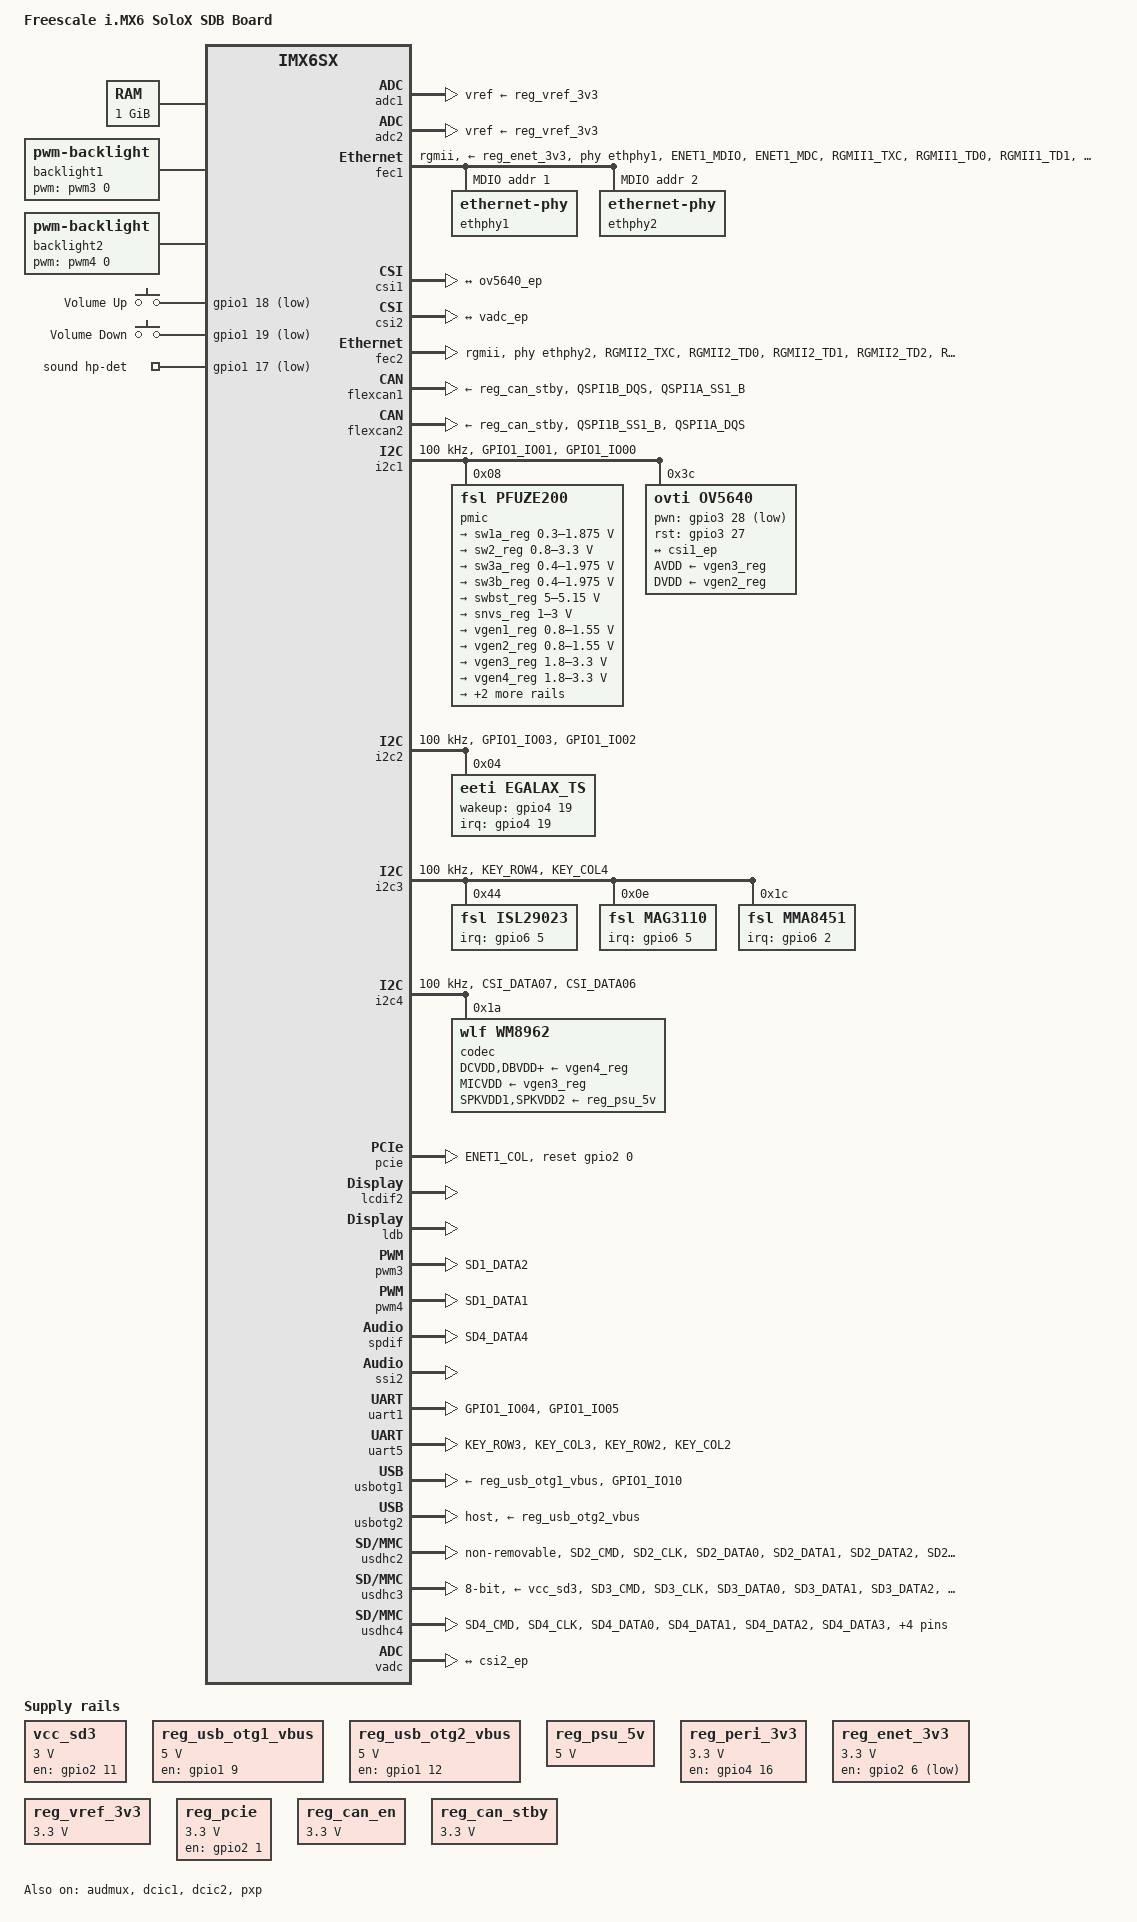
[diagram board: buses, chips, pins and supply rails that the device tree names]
/*
 * Copyright (C) 2014 Freescale Semiconductor, Inc.
 *
 * This program is free software; you can redistribute it and/or modify
 * it under the terms of the GNU General Public License version 2 as
 * published by the Free Software Foundation.
 */

/dts-v1/;

#include <dt-bindings/gpio/gpio.h>
#include <dt-bindings/input/input.h>
#include "imx6sx.dtsi"

/ {
	model = "Freescale i.MX6 SoloX SDB Board";
	compatible = "fsl,imx6sx-sdb", "fsl,imx6sx";

	chosen {
		stdout-path = &uart1;
	};

	memory {
		reg = <0x80000000 0x40000000>;
	};

	backlight1 {
		compatible = "pwm-backlight";
		pwms = <&pwm3 0 5000000>;
		brightness-levels = <0 4 8 16 32 64 128 255>;
		default-brightness-level = <6>;
		fb-names = "mxs-lcdif0";
	};
	backlight2 {
		compatible = "pwm-backlight";
		pwms = <&pwm4 0 5000000>;
		brightness-levels = <0 4 8 16 32 64 128 255>;
		default-brightness-level = <6>;
		fb-names = "mxs-lcdif1";
	};

	gpio-keys {
		compatible = "gpio-keys";
		pinctrl-names = "default";
		pinctrl-0 = <&pinctrl_gpio_keys>;

		volume-up {
			label = "Volume Up";
			gpios = <&gpio1 18 GPIO_ACTIVE_LOW>;
			linux,code = <KEY_VOLUMEUP>;
		};

		volume-down {
			label = "Volume Down";
			gpios = <&gpio1 19 GPIO_ACTIVE_LOW>;
			linux,code = <KEY_VOLUMEDOWN>;
		};
	};

	hannstar_cabc {
		compatible = "hannstar,cabc";
		lvds0 {
			gpios = <&gpio4 26 GPIO_ACTIVE_HIGH>;
		};
	};

        pxp_v4l2_out {
                compatible = "fsl,imx6sx-pxp-v4l2", "fsl,imx6sl-pxp-v4l2";
                status = "okay";
        };

	regulators {
		compatible = "simple-bus";
		#address-cells = <1>;
		#size-cells = <0>;

		vcc_sd3: regulator@0 {
			compatible = "regulator-fixed";
			reg = <0>;
			pinctrl-names = "default";
			pinctrl-0 = <&pinctrl_vcc_sd3>;
			regulator-name = "VCC_SD3";
			regulator-min-microvolt = <3000000>;
			regulator-max-microvolt = <3000000>;
			gpio = <&gpio2 11 GPIO_ACTIVE_HIGH>;
			enable-active-high;
		};

		reg_usb_otg1_vbus: regulator@1 {
			compatible = "regulator-fixed";
			reg = <1>;
			pinctrl-names = "default";
			pinctrl-0 = <&pinctrl_usb_otg1>;
			regulator-name = "usb_otg1_vbus";
			regulator-min-microvolt = <5000000>;
			regulator-max-microvolt = <5000000>;
			gpio = <&gpio1 9 GPIO_ACTIVE_HIGH>;
			enable-active-high;
		};

		reg_usb_otg2_vbus: regulator@2 {
			compatible = "regulator-fixed";
			reg = <2>;
			pinctrl-names = "default";
			pinctrl-0 = <&pinctrl_usb_otg2>;
			regulator-name = "usb_otg2_vbus";
			regulator-min-microvolt = <5000000>;
			regulator-max-microvolt = <5000000>;
			gpio = <&gpio1 12 GPIO_ACTIVE_HIGH>;
			enable-active-high;
		};

		reg_psu_5v: regulator@3 {
			compatible = "regulator-fixed";
			reg = <3>;
			regulator-name = "PSU-5V0";
			regulator-min-microvolt = <5000000>;
			regulator-max-microvolt = <5000000>;
		};

		reg_lcd_3v3: regulator@4 {
			compatible = "regulator-fixed";
			reg = <4>;
			regulator-name = "lcd-3v3";
			gpio = <&gpio3 27 0>;
			enable-active-high;
			status = "disabled";
		};

		reg_peri_3v3: regulator@5 {
			compatible = "regulator-fixed";
			reg = <5>;
			pinctrl-names = "default";
			pinctrl-0 = <&pinctrl_peri_3v3>;
			regulator-name = "peri_3v3";
			regulator-min-microvolt = <3300000>;
			regulator-max-microvolt = <3300000>;
			gpios = <&gpio4 16 GPIO_ACTIVE_HIGH>;
			enable-active-high;
			regulator-always-on;
		};

		reg_enet_3v3: regulator@6 {
			compatible = "regulator-fixed";
			reg = <6>;
			pinctrl-names = "default";
			pinctrl-0 = <&pinctrl_enet_3v3>;
			regulator-name = "enet_3v3";
			regulator-min-microvolt = <3300000>;
			regulator-max-microvolt = <3300000>;
			gpios = <&gpio2 6 GPIO_ACTIVE_LOW>;
		};

		reg_vref_3v3: regulator@7 {
			compatible = "regulator-fixed";
			reg = <7>;
			regulator-name = "vref-3v3";
			regulator-min-microvolt = <3300000>;
			regulator-max-microvolt = <3300000>;
		};

		reg_pcie: regulator@8 {
			compatible = "regulator-fixed";
			reg = <8>;
			pinctrl-names = "default";
			pinctrl-0 = <&pinctrl_pcie_reg>;
			regulator-name = "MPCIE_3V3";
			regulator-min-microvolt = <3300000>;
			regulator-max-microvolt = <3300000>;
			gpio = <&gpio2 1 0>;
			regulator-always-on;
			enable-active-high;
		};

		reg_can_en: regulator@9 {
			compatible = "regulator-fixed";
			reg = <9>;
			regulator-name = "can-en";
			regulator-min-microvolt = <3300000>;
			regulator-max-microvolt = <3300000>;
		};

		reg_can_stby: regulator@10 {
			compatible = "regulator-fixed";
			reg = <10>;
			regulator-name = "can-stby";
			regulator-min-microvolt = <3300000>;
			regulator-max-microvolt = <3300000>;
		};
	};

	sound {
		compatible = "fsl,imx6sx-sdb-wm8962", "fsl,imx-audio-wm8962";
		model = "wm8962-audio";
		cpu-dai = <&ssi2>;
		audio-codec = <&codec>;
		audio-routing =
			"Headphone Jack", "HPOUTL",
			"Headphone Jack", "HPOUTR",
			"Ext Spk", "SPKOUTL",
			"Ext Spk", "SPKOUTR",
			"AMIC", "MICBIAS",
			"IN3R", "AMIC";
		mux-int-port = <2>;
		mux-ext-port = <6>;
		codec-master;
		hp-det-gpios = <&gpio1 17 1>;
	};

	sound-spdif {
		compatible = "fsl,imx-audio-spdif",
			   "fsl,imx6sx-sdb-spdif";
		model = "imx-spdif";
		spdif-controller = <&spdif>;
		spdif-out;
	};

	sii902x_reset: sii902x-reset {
		compatible = "gpio-reset";
		reset-gpios = <&gpio3 27 1>;
		reset-delay-us = <100000>;
		#reset-cells = <0>;
		status = "disabled";
	};
};

&adc1 {
	vref-supply = <&reg_vref_3v3>;
	status = "okay";
};

&adc2 {
	vref-supply = <&reg_vref_3v3>;
	status = "okay";
};

&audmux {
	pinctrl-names = "default";
	pinctrl-0 = <&pinctrl_audmux>;
	status = "okay";
};


&gpc {
	fsl,ldo-bypass = <1>;
};

&fec1 {
	pinctrl-names = "default";
	pinctrl-0 = <&pinctrl_enet1>;
	phy-supply = <&reg_enet_3v3>;
	phy-mode = "rgmii";
	phy-handle = <&ethphy1>;
	status = "okay";

	mdio {
		#address-cells = <1>;
		#size-cells = <0>;

		ethphy1: ethernet-phy@1 {
			reg = <1>;
		};

		ethphy2: ethernet-phy@2 {
			reg = <2>;
		};
	};
};

&csi1 {
	status = "okay";

	port {
		csi1_ep: endpoint {
			remote-endpoint = <&ov5640_ep>;
		};
	};
};

&csi2 {
	status = "okay";
	port {
		csi2_ep: endpoint {
			remote-endpoint = <&vadc_ep>;
		};
	};
};

&dcic1 {
	dcic_id = <0>;
	dcic_mux = "dcic-lcdif1";
	status = "okay";
};

&dcic2 {
	dcic_id = <1>;
	dcic_mux = "dcic-lvds";
	status = "okay";
};

&fec2 {
	pinctrl-names = "default";
	pinctrl-0 = <&pinctrl_enet2>;
	phy-mode = "rgmii";
	phy-handle = <&ethphy2>;
	status = "okay";
};

&flexcan1 {
	pinctrl-names = "default";
	pinctrl-0 = <&pinctrl_flexcan1>;
	xceiver-supply = <&reg_can_stby>;
	status = "okay";
};

&flexcan2 {
	pinctrl-names = "default";
	pinctrl-0 = <&pinctrl_flexcan2>;
	xceiver-supply = <&reg_can_stby>;
	status = "okay";
};

&i2c1 {
	clock-frequency = <100000>;
	pinctrl-names = "default";
	pinctrl-0 = <&pinctrl_i2c1>;
	status = "okay";

	pmic: pfuze100@08 {
		compatible = "fsl,pfuze200";
		reg = <0x08>;

		regulators {
			sw1a_reg: sw1ab {
				regulator-min-microvolt = <300000>;
				regulator-max-microvolt = <1875000>;
				regulator-boot-on;
				regulator-always-on;
				regulator-ramp-delay = <6250>;
			};

			sw2_reg: sw2 {
				regulator-min-microvolt = <800000>;
				regulator-max-microvolt = <3300000>;
				regulator-boot-on;
				regulator-always-on;
			};

			sw3a_reg: sw3a {
				regulator-min-microvolt = <400000>;
				regulator-max-microvolt = <1975000>;
				regulator-boot-on;
				regulator-always-on;
			};

			sw3b_reg: sw3b {
				regulator-min-microvolt = <400000>;
				regulator-max-microvolt = <1975000>;
				regulator-boot-on;
				regulator-always-on;
			};

			swbst_reg: swbst {
				regulator-min-microvolt = <5000000>;
				regulator-max-microvolt = <5150000>;
			};

			snvs_reg: vsnvs {
				regulator-min-microvolt = <1000000>;
				regulator-max-microvolt = <3000000>;
				regulator-boot-on;
				regulator-always-on;
			};

			vref_reg: vrefddr {
				regulator-boot-on;
				regulator-always-on;
			};

			vgen1_reg: vgen1 {
				regulator-min-microvolt = <800000>;
				regulator-max-microvolt = <1550000>;
				regulator-always-on;
			};

			vgen2_reg: vgen2 {
				regulator-min-microvolt = <800000>;
				regulator-max-microvolt = <1550000>;
			};

			vgen3_reg: vgen3 {
				regulator-min-microvolt = <1800000>;
				regulator-max-microvolt = <3300000>;
				regulator-always-on;
			};

			vgen4_reg: vgen4 {
				regulator-min-microvolt = <1800000>;
				regulator-max-microvolt = <3300000>;
				regulator-always-on;
			};

			vgen5_reg: vgen5 {
				regulator-min-microvolt = <1800000>;
				regulator-max-microvolt = <3300000>;
				regulator-always-on;
			};

			vgen6_reg: vgen6 {
				regulator-min-microvolt = <1800000>;
				regulator-max-microvolt = <3300000>;
				regulator-always-on;
			};
		};
	};

	ov5640: ov5640@3c {
		compatible = "ovti,ov5640";
		reg = <0x3c>;
		pinctrl-names = "default";
		pinctrl-0 = <&pinctrl_csi_0>;
		clocks = <&clks IMX6SX_CLK_CSI>;
		clock-names = "csi_mclk";
		AVDD-supply = <&vgen3_reg>;  /* 2.8v */
		DVDD-supply = <&vgen2_reg>;  /* 1.5v*/
		pwn-gpios = <&gpio3 28 1>;
		rst-gpios = <&gpio3 27 0>;
		csi_id = <0>;
		mclk = <24000000>;
		mclk_source = <0>;
		port {
			ov5640_ep: endpoint {
				remote-endpoint = <&csi1_ep>;
			};
		};
	};

	sii902x@39 {
		compatible = "SiI,sii902x";
		interrupt-parent = <&gpio4>;
		interrupts = <21 2>;
		mode_str ="1280x720M@60";
		bits-per-pixel = <16>;
		resets = <&sii902x_reset>;
		reg = <0x39>;
		status = "disabled";
	};
};

&i2c2 {
	clock-frequency = <100000>;
	pinctrl-names = "default";
	pinctrl-0 = <&pinctrl_i2c2>;
	status = "okay";

	egalax_ts@04 {
		compatible = "eeti,egalax_ts";
		reg = <0x04>;
		pinctrl-names = "default";
		pinctrl-0 = <&pinctrl_egalax_int>;
		interrupt-parent = <&gpio4>;
		interrupts = <19 2>;
		wakeup-gpios = <&gpio4 19 GPIO_ACTIVE_HIGH>;
	};
};

&i2c3 {
	clock-frequency = <100000>;
	pinctrl-names = "default";
	pinctrl-0 = <&pinctrl_i2c3>;
	status = "okay";

	isl29023@44 {
		compatible = "fsl,isl29023";
		reg = <0x44>;
		rext = <499>;
		interrupt-parent = <&gpio6>;
		interrupts = <5 1>;
		shared-interrupt;
	};

	mag3110@0e {
		compatible = "fsl,mag3110";
		reg = <0x0e>;
		position = <2>;
		interrupt-parent = <&gpio6>;
		interrupts = <5 1>;
		shared-interrupt;
	};

	mma8451@1c {
		compatible = "fsl,mma8451";
		reg = <0x1c>;
		position = <1>;
		interrupt-parent = <&gpio6>;
		interrupts = <2 8>;
		interrupt-route = <2>;
	};
};

&i2c4 {
        clock-frequency = <100000>;
        pinctrl-names = "default";
        pinctrl-0 = <&pinctrl_i2c4>;
        status = "okay";

	codec: wm8962@1a {
		compatible = "wlf,wm8962";
		reg = <0x1a>;
		clocks = <&clks IMX6SX_CLK_AUDIO>;
		DCVDD-supply = <&vgen4_reg>;
		DBVDD-supply = <&vgen4_reg>;
		AVDD-supply = <&vgen4_reg>;
		CPVDD-supply = <&vgen4_reg>;
		MICVDD-supply = <&vgen3_reg>;
		PLLVDD-supply = <&vgen4_reg>;
		SPKVDD1-supply = <&reg_psu_5v>;
		SPKVDD2-supply = <&reg_psu_5v>;
		amic-mono;
	};
};

&lcdif1 {
	pinctrl-names = "default";
	pinctrl-0 = <&pinctrl_lcd>;
	lcd-supply = <&reg_lcd_3v3>;
	display = <&display0>;
	status = "disabled";

	display0: display {
		bits-per-pixel = <16>;
		bus-width = <24>;

		display-timings {
			native-mode = <&timing0>;
			timing0: timing0 {
				clock-frequency = <33500000>;
				hactive = <800>;
				vactive = <480>;
				hback-porch = <89>;
				hfront-porch = <164>;
				vback-porch = <23>;
				vfront-porch = <10>;
				hsync-len = <10>;
				vsync-len = <10>;
				hsync-active = <0>;
				vsync-active = <0>;
				de-active = <1>;
				pixelclk-active = <0>;
			};
		};
	};
};

&pcie {
	pinctrl-names = "default";
	pinctrl-0 = <&pinctrl_pcie>;
	reset-gpio = <&gpio2 0 0>;
	status = "okay";
};

&lcdif2 {
	display = <&display1>;
	disp-dev = "ldb";
	status = "okay";
	display1: display {
		bits-per-pixel = <16>;
		bus-width = <18>;
	};
};
&ldb {
	status = "okay";
	lvds-channel@0 {
		fsl,data-mapping = "spwg";
		fsl,data-width = <18>;
		crtc = "lcdif2";
		status = "okay";
		display-timings {
			native-mode = <&timing1>;
			timing1: hsd100pxn1 {
				clock-frequency = <65000000>;
				hactive = <1024>;
				vactive = <768>;
				hback-porch = <220>;
				hfront-porch = <40>;
				vback-porch = <21>;
				vfront-porch = <7>;
				hsync-len = <60>;
				vsync-len = <10>;
			};
		};
	};
};

&pwm3 {
	pinctrl-names = "default";
	pinctrl-0 = <&pinctrl_pwm3>;
	status = "okay";
};

&pwm4 {
	pinctrl-names = "default";
	pinctrl-0 = <&pinctrl_pwm4>;
	status = "okay";
};

&pxp {
        status = "okay";
};

&snvs_poweroff {
	status = "okay";
};

&spdif {
	pinctrl-names = "default";
	pinctrl-0 = <&pinctrl_spdif>;
	status = "okay";
};

&ssi2 {
	status = "okay";
};

&uart1 {
	pinctrl-names = "default";
	pinctrl-0 = <&pinctrl_uart1>;
	status = "okay";
};

&uart5 { /* for bluetooth */
	pinctrl-names = "default";
	pinctrl-0 = <&pinctrl_uart5>;
	fsl,uart-has-rtscts;
	status = "okay";
	/* for DTE mode, add below change */
	/* fsl,dte-mode;*/
	/* pinctrl-0 = <&pinctrl_uart5dte_1>; */
};

&usbotg1 {
	vbus-supply = <&reg_usb_otg1_vbus>;
	pinctrl-names = "default";
	pinctrl-0 = <&pinctrl_usb_otg1_id>;
	srp-disable;
	hnp-disable;
	adp-disable;
	status = "okay";
};

&usbotg2 {
	vbus-supply = <&reg_usb_otg2_vbus>;
	dr_mode = "host";
	status = "okay";
};

&usdhc2 {
	pinctrl-names = "default";
	pinctrl-0 = <&pinctrl_usdhc2>;
	non-removable;
	no-1-8-v;
	keep-power-in-suspend;
	enable-sdio-wakeup;
	status = "okay";
};

&usdhc3 {
	pinctrl-names = "default", "state_100mhz", "state_200mhz";
	pinctrl-0 = <&pinctrl_usdhc3>;
	pinctrl-1 = <&pinctrl_usdhc3_100mhz>;
	pinctrl-2 = <&pinctrl_usdhc3_200mhz>;
	bus-width = <8>;
	cd-gpios = <&gpio2 10 GPIO_ACTIVE_LOW>;
	wp-gpios = <&gpio2 15 GPIO_ACTIVE_HIGH>;
	keep-power-in-suspend;
	enable-sdio-wakeup;
	vmmc-supply = <&vcc_sd3>;
	status = "okay";
};

&usdhc4 {
	pinctrl-names = "default";
	pinctrl-0 = <&pinctrl_usdhc4>;
	cd-gpios = <&gpio6 21 GPIO_ACTIVE_LOW>;
	wp-gpios = <&gpio6 20 GPIO_ACTIVE_HIGH>;
	status = "okay";
};

&wdog1 {
	pinctrl-names = "default";
	pinctrl-0 = <&pinctrl_wdog>;
	fsl,wdog_b;
};

&iomuxc {
	pinctrl-names = "default";
	pinctrl-0 = <&pinctrl_hog &pinctrl_can_gpios>;

	imx6x-sdb {
		pinctrl_hog: hoggrp {
			fsl,pins = <
				MX6SX_PAD_SD1_DATA0__GPIO6_IO_2 0x17059
				MX6SX_PAD_SD1_DATA3__GPIO6_IO_5 0xb000
				MX6SX_PAD_CSI_DATA03__GPIO1_IO_17 0x17059
			>;
		};

		pinctrl_can_gpios: can-gpios {
			fsl,pins = <
				MX6SX_PAD_QSPI1B_DATA1__GPIO4_IO_25 0x17059
				MX6SX_PAD_QSPI1B_DATA3__GPIO4_IO_27 0x17059
			>;
		};

		pinctrl_audmux: audmuxgrp {
			fsl,pins = <
				MX6SX_PAD_CSI_DATA00__AUDMUX_AUD6_TXC	0x130b0
				MX6SX_PAD_CSI_DATA01__AUDMUX_AUD6_TXFS	0x130b0
				MX6SX_PAD_CSI_HSYNC__AUDMUX_AUD6_TXD	0x120b0
				MX6SX_PAD_CSI_VSYNC__AUDMUX_AUD6_RXD	0x130b0
				MX6SX_PAD_CSI_PIXCLK__AUDMUX_MCLK	0x130b0
			>;
		};

		pinctrl_csi_0: csigrp-0 {
			fsl,pins = <
				MX6SX_PAD_LCD1_DATA07__CSI1_MCLK	0x110b0
				MX6SX_PAD_LCD1_DATA06__CSI1_PIXCLK	0x110b0
				MX6SX_PAD_LCD1_DATA04__CSI1_VSYNC	0x110b0
				MX6SX_PAD_LCD1_DATA05__CSI1_HSYNC	0x110b0
				MX6SX_PAD_LCD1_DATA17__CSI1_DATA_0	0x110b0
				MX6SX_PAD_LCD1_DATA16__CSI1_DATA_1	0x110b0
				MX6SX_PAD_LCD1_DATA15__CSI1_DATA_2	0x110b0
				MX6SX_PAD_LCD1_DATA14__CSI1_DATA_3	0x110b0
				MX6SX_PAD_LCD1_DATA13__CSI1_DATA_4	0x110b0
				MX6SX_PAD_LCD1_DATA12__CSI1_DATA_5	0x110b0
				MX6SX_PAD_LCD1_DATA11__CSI1_DATA_6	0x110b0
				MX6SX_PAD_LCD1_DATA10__CSI1_DATA_7	0x110b0
				MX6SX_PAD_LCD1_DATA09__CSI1_DATA_8	0x110b0
				MX6SX_PAD_LCD1_DATA08__CSI1_DATA_9	0x110b0
				MX6SX_PAD_LCD1_RESET__GPIO3_IO_27	0x80000000
				MX6SX_PAD_LCD1_VSYNC__GPIO3_IO_28	0x80000000
			>;
		};

		pinctrl_egalax_int: egalax_intgrp {
			fsl,pins = <
				MX6SX_PAD_QSPI1A_DATA3__GPIO4_IO_19 0x80000000
			>;
		};

		pinctrl_enet1: enet1grp {
			fsl,pins = <
				MX6SX_PAD_ENET1_MDIO__ENET1_MDIO	0xa0b1
				MX6SX_PAD_ENET1_MDC__ENET1_MDC		0xa0b1
				MX6SX_PAD_RGMII1_TXC__ENET1_RGMII_TXC	0xa0b9
				MX6SX_PAD_RGMII1_TD0__ENET1_TX_DATA_0	0xa0b1
				MX6SX_PAD_RGMII1_TD1__ENET1_TX_DATA_1	0xa0b1
				MX6SX_PAD_RGMII1_TD2__ENET1_TX_DATA_2	0xa0b1
				MX6SX_PAD_RGMII1_TD3__ENET1_TX_DATA_3	0xa0b1
				MX6SX_PAD_RGMII1_TX_CTL__ENET1_TX_EN	0xa0b1
				MX6SX_PAD_RGMII1_RXC__ENET1_RX_CLK	0x3081
				MX6SX_PAD_RGMII1_RD0__ENET1_RX_DATA_0	0x3081
				MX6SX_PAD_RGMII1_RD1__ENET1_RX_DATA_1	0x3081
				MX6SX_PAD_RGMII1_RD2__ENET1_RX_DATA_2	0x3081
				MX6SX_PAD_RGMII1_RD3__ENET1_RX_DATA_3	0x3081
				MX6SX_PAD_RGMII1_RX_CTL__ENET1_RX_EN	0x3081
				MX6SX_PAD_ENET2_RX_CLK__ENET2_REF_CLK_25M	0x91
			>;
		};

		pinctrl_enet_3v3: enet3v3grp {
			fsl,pins = <
				MX6SX_PAD_ENET2_COL__GPIO2_IO_6		0x80000000
			>;
		};

		pinctrl_enet2: enet2grp {
			fsl,pins = <
				MX6SX_PAD_RGMII2_TXC__ENET2_RGMII_TXC	0xa0b9
				MX6SX_PAD_RGMII2_TD0__ENET2_TX_DATA_0	0xa0b1
				MX6SX_PAD_RGMII2_TD1__ENET2_TX_DATA_1	0xa0b1
				MX6SX_PAD_RGMII2_TD2__ENET2_TX_DATA_2	0xa0b1
				MX6SX_PAD_RGMII2_TD3__ENET2_TX_DATA_3	0xa0b1
				MX6SX_PAD_RGMII2_TX_CTL__ENET2_TX_EN	0xa0b1
				MX6SX_PAD_RGMII2_RXC__ENET2_RX_CLK	0x3081
				MX6SX_PAD_RGMII2_RD0__ENET2_RX_DATA_0	0x3081
				MX6SX_PAD_RGMII2_RD1__ENET2_RX_DATA_1	0x3081
				MX6SX_PAD_RGMII2_RD2__ENET2_RX_DATA_2	0x3081
				MX6SX_PAD_RGMII2_RD3__ENET2_RX_DATA_3	0x3081
				MX6SX_PAD_RGMII2_RX_CTL__ENET2_RX_EN	0x3081
			>;
		};

		pinctrl_flexcan1: flexcan1grp {
			fsl,pins = <
				MX6SX_PAD_QSPI1B_DQS__CAN1_TX		0x1b020
				MX6SX_PAD_QSPI1A_SS1_B__CAN1_RX		0x1b020
			>;
		};

		pinctrl_flexcan2: flexcan2grp {
			fsl,pins = <
				MX6SX_PAD_QSPI1B_SS1_B__CAN2_RX		0x1b020
				MX6SX_PAD_QSPI1A_DQS__CAN2_TX		0x1b020
			>;
		};

		pinctrl_gpio_keys: gpio_keysgrp {
			fsl,pins = <
				MX6SX_PAD_CSI_DATA04__GPIO1_IO_18 0x17059
				MX6SX_PAD_CSI_DATA05__GPIO1_IO_19 0x17059
			>;
		};

		pinctrl_i2c1: i2c1grp {
			fsl,pins = <
				MX6SX_PAD_GPIO1_IO01__I2C1_SDA		0x4001b8b1
				MX6SX_PAD_GPIO1_IO00__I2C1_SCL		0x4001b8b1
			>;
		};

		pinctrl_i2c2: i2c2grp {
			fsl,pins = <
				MX6SX_PAD_GPIO1_IO03__I2C2_SDA 0x4001b8b1
				MX6SX_PAD_GPIO1_IO02__I2C2_SCL 0x4001b8b1
			>;
		};

		pinctrl_i2c3: i2c3grp {
			fsl,pins = <
				MX6SX_PAD_KEY_ROW4__I2C3_SDA 0x4001b8b1
				MX6SX_PAD_KEY_COL4__I2C3_SCL 0x4001b8b1
			>;
		};

		pinctrl_i2c4: i2c4grp {
			fsl,pins = <
				MX6SX_PAD_CSI_DATA07__I2C4_SDA		0x4001b8b1
				MX6SX_PAD_CSI_DATA06__I2C4_SCL		0x4001b8b1
			>;
		};

		pinctrl_lcd: lcdgrp {
			fsl,pins = <
				MX6SX_PAD_LCD1_DATA00__LCDIF1_DATA_0 0x4001b0b0
				MX6SX_PAD_LCD1_DATA01__LCDIF1_DATA_1 0x4001b0b0
				MX6SX_PAD_LCD1_DATA02__LCDIF1_DATA_2 0x4001b0b0
				MX6SX_PAD_LCD1_DATA03__LCDIF1_DATA_3 0x4001b0b0
				MX6SX_PAD_LCD1_DATA04__LCDIF1_DATA_4 0x4001b0b0
				MX6SX_PAD_LCD1_DATA05__LCDIF1_DATA_5 0x4001b0b0
				MX6SX_PAD_LCD1_DATA06__LCDIF1_DATA_6 0x4001b0b0
				MX6SX_PAD_LCD1_DATA07__LCDIF1_DATA_7 0x4001b0b0
				MX6SX_PAD_LCD1_DATA08__LCDIF1_DATA_8 0x4001b0b0
				MX6SX_PAD_LCD1_DATA09__LCDIF1_DATA_9 0x4001b0b0
				MX6SX_PAD_LCD1_DATA10__LCDIF1_DATA_10 0x4001b0b0
				MX6SX_PAD_LCD1_DATA11__LCDIF1_DATA_11 0x4001b0b0
				MX6SX_PAD_LCD1_DATA12__LCDIF1_DATA_12 0x4001b0b0
				MX6SX_PAD_LCD1_DATA13__LCDIF1_DATA_13 0x4001b0b0
				MX6SX_PAD_LCD1_DATA14__LCDIF1_DATA_14 0x4001b0b0
				MX6SX_PAD_LCD1_DATA15__LCDIF1_DATA_15 0x4001b0b0
				MX6SX_PAD_LCD1_DATA16__LCDIF1_DATA_16 0x4001b0b0
				MX6SX_PAD_LCD1_DATA17__LCDIF1_DATA_17 0x4001b0b0
				MX6SX_PAD_LCD1_DATA18__LCDIF1_DATA_18 0x4001b0b0
				MX6SX_PAD_LCD1_DATA19__LCDIF1_DATA_19 0x4001b0b0
				MX6SX_PAD_LCD1_DATA20__LCDIF1_DATA_20 0x4001b0b0
				MX6SX_PAD_LCD1_DATA21__LCDIF1_DATA_21 0x4001b0b0
				MX6SX_PAD_LCD1_DATA22__LCDIF1_DATA_22 0x4001b0b0
				MX6SX_PAD_LCD1_DATA23__LCDIF1_DATA_23 0x4001b0b0
				MX6SX_PAD_LCD1_CLK__LCDIF1_CLK	0x4001b0b0
				MX6SX_PAD_LCD1_ENABLE__LCDIF1_ENABLE 0x4001b0b0
				MX6SX_PAD_LCD1_VSYNC__LCDIF1_VSYNC 0x4001b0b0
				MX6SX_PAD_LCD1_HSYNC__LCDIF1_HSYNC 0x4001b0b0
				MX6SX_PAD_LCD1_RESET__GPIO3_IO_27 0x4001b0b0
			>;
		};

		pinctrl_mqs: mqsgrp {
			fsl,pins = <
				MX6SX_PAD_SD2_CLK__MQS_RIGHT 0x120b0
				MX6SX_PAD_SD2_CMD__MQS_LEFT  0x120b0
			>;
		};

		pinctrl_pcie: pciegrp {
			fsl,pins = <
				MX6SX_PAD_ENET1_COL__GPIO2_IO_0 0x10b0
			>;
		};

		pinctrl_pcie_reg: pciereggrp {
			fsl,pins = <
				MX6SX_PAD_ENET1_CRS__GPIO2_IO_1	0x10b0
			>;
		};

		pinctrl_peri_3v3: peri3v3grp {
			fsl,pins = <
				MX6SX_PAD_QSPI1A_DATA0__GPIO4_IO_16	0x80000000
			>;
		};

		pinctrl_pwm3: pwm3grp-1 {
			fsl,pins = <
				MX6SX_PAD_SD1_DATA2__PWM3_OUT 0x110b0
			>;
		};

		pinctrl_pwm4: pwm4grp-1 {
			fsl,pins = <
				MX6SX_PAD_SD1_DATA1__PWM4_OUT 0x110b0
			>;
		};

		pinctrl_qspi2: qspi2grp {
			fsl,pins = <
				MX6SX_PAD_NAND_WP_B__QSPI2_A_DATA_0     0x70f1
				MX6SX_PAD_NAND_READY_B__QSPI2_A_DATA_1  0x70f1
				MX6SX_PAD_NAND_CE0_B__QSPI2_A_DATA_2    0x70f1
				MX6SX_PAD_NAND_CE1_B__QSPI2_A_DATA_3    0x70f1
				MX6SX_PAD_NAND_CLE__QSPI2_A_SCLK        0x70f1
				MX6SX_PAD_NAND_ALE__QSPI2_A_SS0_B       0x70f1
				MX6SX_PAD_NAND_DATA01__QSPI2_B_DATA_0   0x70f1
				MX6SX_PAD_NAND_DATA00__QSPI2_B_DATA_1   0x70f1
				MX6SX_PAD_NAND_WE_B__QSPI2_B_DATA_2     0x70f1
				MX6SX_PAD_NAND_RE_B__QSPI2_B_DATA_3     0x70f1
				MX6SX_PAD_NAND_DATA02__QSPI2_B_SCLK     0x70f1
				MX6SX_PAD_NAND_DATA03__QSPI2_B_SS0_B    0x70f1
			>;
		};

		pinctrl_sai1: sai1grp {
                        fsl,pins = <
                                MX6SX_PAD_CSI_DATA00__SAI1_TX_BCLK     0x130b0
                                MX6SX_PAD_CSI_DATA01__SAI1_TX_SYNC     0x130b0
                                MX6SX_PAD_CSI_HSYNC__SAI1_TX_DATA_0    0x120b0
                                MX6SX_PAD_CSI_VSYNC__SAI1_RX_DATA_0    0x130b0
                                MX6SX_PAD_CSI_PIXCLK__AUDMUX_MCLK      0x130b0
                        >;
                };

		pinctrl_spdif: spdifgrp {
			fsl,pins = <
				MX6SX_PAD_SD4_DATA4__SPDIF_OUT          0x1b0b0
			>;
		};

		pinctrl_vcc_sd3: vccsd3grp {
			fsl,pins = <
				MX6SX_PAD_KEY_COL1__GPIO2_IO_11		0x17059
			>;
		};

		pinctrl_uart1: uart1grp {
			fsl,pins = <
				MX6SX_PAD_GPIO1_IO04__UART1_TX		0x1b0b1
				MX6SX_PAD_GPIO1_IO05__UART1_RX		0x1b0b1
			>;
		};

		pinctrl_uart5: uart5grp {
			fsl,pins = <
				MX6SX_PAD_KEY_ROW3__UART5_RX		0x1b0b1
				MX6SX_PAD_KEY_COL3__UART5_TX		0x1b0b1
				MX6SX_PAD_KEY_ROW2__UART5_CTS_B		0x1b0b1
				MX6SX_PAD_KEY_COL2__UART5_RTS_B		0x1b0b1
			>;
		};

		pinctrl_uart5dte_1: uart5dtegrp-1 {
			fsl,pins = <
				MX6SX_PAD_KEY_ROW3__UART5_TX		0x1b0b1
				MX6SX_PAD_KEY_COL3__UART5_RX		0x1b0b1
				MX6SX_PAD_KEY_ROW2__UART5_RTS_B		0x1b0b1
				MX6SX_PAD_KEY_COL2__UART5_CTS_B		0x1b0b1
			>;
		};

		pinctrl_usb_otg1: usbotg1grp {
			fsl,pins = <
				MX6SX_PAD_GPIO1_IO09__GPIO1_IO_9	0x10b0
			>;
		};

		pinctrl_usb_otg1_id: usbotg1idgrp {
			fsl,pins = <
				MX6SX_PAD_GPIO1_IO10__ANATOP_OTG1_ID	0x17059
			>;
		};

		pinctrl_usb_otg2: usbot2ggrp {
			fsl,pins = <
				MX6SX_PAD_GPIO1_IO12__GPIO1_IO_12	0x10b0
			>;
		};

		pinctrl_usdhc2: usdhc2grp {
			fsl,pins = <
				MX6SX_PAD_SD2_CMD__USDHC2_CMD		0x17059
				MX6SX_PAD_SD2_CLK__USDHC2_CLK		0x10059
				MX6SX_PAD_SD2_DATA0__USDHC2_DATA0	0x17059
				MX6SX_PAD_SD2_DATA1__USDHC2_DATA1	0x17059
				MX6SX_PAD_SD2_DATA2__USDHC2_DATA2	0x17059
				MX6SX_PAD_SD2_DATA3__USDHC2_DATA3	0x17059
			>;
		};

		pinctrl_usdhc3: usdhc3grp {
			fsl,pins = <
				MX6SX_PAD_SD3_CMD__USDHC3_CMD		0x17069
				MX6SX_PAD_SD3_CLK__USDHC3_CLK		0x10071
				MX6SX_PAD_SD3_DATA0__USDHC3_DATA0	0x17069
				MX6SX_PAD_SD3_DATA1__USDHC3_DATA1	0x17069
				MX6SX_PAD_SD3_DATA2__USDHC3_DATA2	0x17069
				MX6SX_PAD_SD3_DATA3__USDHC3_DATA3	0x17069
				MX6SX_PAD_SD3_DATA4__USDHC3_DATA4	0x17069
				MX6SX_PAD_SD3_DATA5__USDHC3_DATA5	0x17069
				MX6SX_PAD_SD3_DATA6__USDHC3_DATA6	0x17069
				MX6SX_PAD_SD3_DATA7__USDHC3_DATA7	0x17069
				MX6SX_PAD_KEY_COL0__GPIO2_IO_10		0x17059 /* CD */
				MX6SX_PAD_KEY_ROW0__GPIO2_IO_15		0x17059 /* WP */
			>;
		};

		pinctrl_usdhc3_100mhz: usdhc3grp-100mhz {
			fsl,pins = <
				MX6SX_PAD_SD3_CMD__USDHC3_CMD		0x170b9
				MX6SX_PAD_SD3_CLK__USDHC3_CLK		0x100b9
				MX6SX_PAD_SD3_DATA0__USDHC3_DATA0	0x170b9
				MX6SX_PAD_SD3_DATA1__USDHC3_DATA1	0x170b9
				MX6SX_PAD_SD3_DATA2__USDHC3_DATA2	0x170b9
				MX6SX_PAD_SD3_DATA3__USDHC3_DATA3	0x170b9
				MX6SX_PAD_SD3_DATA4__USDHC3_DATA4	0x170b9
				MX6SX_PAD_SD3_DATA5__USDHC3_DATA5	0x170b9
				MX6SX_PAD_SD3_DATA6__USDHC3_DATA6	0x170b9
				MX6SX_PAD_SD3_DATA7__USDHC3_DATA7	0x170b9
			>;
		};

		pinctrl_usdhc3_200mhz: usdhc3grp-200mhz {
			fsl,pins = <
				MX6SX_PAD_SD3_CMD__USDHC3_CMD		0x170f9
				MX6SX_PAD_SD3_CLK__USDHC3_CLK		0x100f9
				MX6SX_PAD_SD3_DATA0__USDHC3_DATA0	0x170f9
				MX6SX_PAD_SD3_DATA1__USDHC3_DATA1	0x170f9
				MX6SX_PAD_SD3_DATA2__USDHC3_DATA2	0x170f9
				MX6SX_PAD_SD3_DATA3__USDHC3_DATA3	0x170f9
				MX6SX_PAD_SD3_DATA4__USDHC3_DATA4	0x170f9
				MX6SX_PAD_SD3_DATA5__USDHC3_DATA5	0x170f9
				MX6SX_PAD_SD3_DATA6__USDHC3_DATA6	0x170f9
				MX6SX_PAD_SD3_DATA7__USDHC3_DATA7	0x170f9
			>;
		};

		pinctrl_usdhc4: usdhc4grp {
			fsl,pins = <
				MX6SX_PAD_SD4_CMD__USDHC4_CMD		0x17059
				MX6SX_PAD_SD4_CLK__USDHC4_CLK		0x10059
				MX6SX_PAD_SD4_DATA0__USDHC4_DATA0	0x17059
				MX6SX_PAD_SD4_DATA1__USDHC4_DATA1	0x17059
				MX6SX_PAD_SD4_DATA2__USDHC4_DATA2	0x17059
				MX6SX_PAD_SD4_DATA3__USDHC4_DATA3	0x17059
				MX6SX_PAD_SD4_DATA7__GPIO6_IO_21	0x17059 /* CD */
				MX6SX_PAD_SD4_DATA6__GPIO6_IO_20	0x17059 /* WP */
			>;
		};

		pinctrl_usdhc4_1: usdhc4grp-1 {
			fsl,pins = <
				MX6SX_PAD_SD4_CMD__USDHC4_CMD		0x17059
				MX6SX_PAD_SD4_CLK__USDHC4_CLK		0x10059
				MX6SX_PAD_SD4_DATA0__USDHC4_DATA0	0x17059
				MX6SX_PAD_SD4_DATA1__USDHC4_DATA1	0x17059
				MX6SX_PAD_SD4_DATA2__USDHC4_DATA2	0x17059
				MX6SX_PAD_SD4_DATA3__USDHC4_DATA3	0x17059
				MX6SX_PAD_SD4_DATA4__USDHC4_DATA4	0x17059
				MX6SX_PAD_SD4_DATA5__USDHC4_DATA5	0x17059
				MX6SX_PAD_SD4_DATA6__USDHC4_DATA6	0x17059
				MX6SX_PAD_SD4_DATA7__USDHC4_DATA7	0x17059
			>;
		};

		pinctrl_usdhc4_1_100mhz: usdhc4grp-1-100mhz {
			fsl,pins = <
				MX6SX_PAD_SD4_CMD__USDHC4_CMD		0x170b9
				MX6SX_PAD_SD4_CLK__USDHC4_CLK		0x100b9
				MX6SX_PAD_SD4_DATA0__USDHC4_DATA0	0x170b9
				MX6SX_PAD_SD4_DATA1__USDHC4_DATA1	0x170b9
				MX6SX_PAD_SD4_DATA2__USDHC4_DATA2	0x170b9
				MX6SX_PAD_SD4_DATA3__USDHC4_DATA3	0x170b9
				MX6SX_PAD_SD4_DATA4__USDHC4_DATA4	0x170b9
				MX6SX_PAD_SD4_DATA5__USDHC4_DATA5	0x170b9
				MX6SX_PAD_SD4_DATA6__USDHC4_DATA6	0x170b9
				MX6SX_PAD_SD4_DATA7__USDHC4_DATA7	0x170b9
			>;
		};

		pinctrl_usdhc4_1_200mhz: usdhc4grp-1-200mhz {
			fsl,pins = <
				MX6SX_PAD_SD4_CMD__USDHC4_CMD		0x170f9
				MX6SX_PAD_SD4_CLK__USDHC4_CLK		0x100f9
				MX6SX_PAD_SD4_DATA0__USDHC4_DATA0	0x170f9
				MX6SX_PAD_SD4_DATA1__USDHC4_DATA1	0x170f9
				MX6SX_PAD_SD4_DATA2__USDHC4_DATA2	0x170f9
				MX6SX_PAD_SD4_DATA3__USDHC4_DATA3	0x170f9
				MX6SX_PAD_SD4_DATA4__USDHC4_DATA4	0x170f9
				MX6SX_PAD_SD4_DATA5__USDHC4_DATA5	0x170f9
				MX6SX_PAD_SD4_DATA6__USDHC4_DATA6	0x170f9
				MX6SX_PAD_SD4_DATA7__USDHC4_DATA7	0x170f9
			>;
		};

		pinctrl_wdog: wdoggrp {
			fsl,pins = <
				MX6SX_PAD_GPIO1_IO13__WDOG1_WDOG_ANY 0x30b0
			>;
		};
	};
};

&vadc {
	vadc_in = <0>;
	csi_id = <1>;
	status = "okay";
	port {
		vadc_ep: endpoint {
			remote-endpoint = <&csi2_ep>;
		};
	};
};
